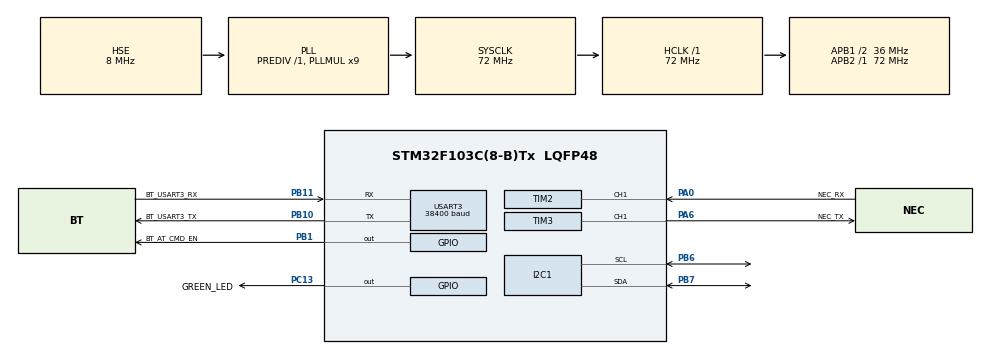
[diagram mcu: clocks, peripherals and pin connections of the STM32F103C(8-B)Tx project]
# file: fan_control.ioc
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Mcu.Family=STM32F1
Mcu.Name=STM32F103C(8-B)Tx
Mcu.Package=LQFP48
NVIC.I2C1_ER_IRQn=true\:0\:0\:false\:false\:true\:true\:true
NVIC.I2C1_EV_IRQn=true\:0\:0\:false\:false\:true\:true\:true
NVIC.PriorityGroup=NVIC_PRIORITYGROUP_4
NVIC.TIM2_IRQn=true\:0\:0\:false\:false\:true\:true\:true
NVIC.TIM3_IRQn=true\:0\:0\:true\:false\:true\:true\:true
NVIC.USART3_IRQn=true\:0\:0\:true\:false\:true\:true\:true
PA0-WKUP.GPIO_Label=NEC_RX
PA0-WKUP.Signal=S_TIM2_CH1_ETR
PA13.Mode=Serial_Wire
PA13.Signal=SYS_JTMS-SWDIO
PA14.Mode=Serial_Wire
PA14.Signal=SYS_JTCK-SWCLK
PA6.GPIO_Label=NEC_TX
PA6.GPIO_PuPd=GPIO_PULLUP
PA6.Signal=S_TIM3_CH1
PB1.GPIO_Label=BT_AT_CMD_EN
PB1.GPIO_Speed=GPIO_SPEED_FREQ_MEDIUM
PB1.Signal=GPIO_Output
PB10.GPIO_Label=BT_USART3_TX
PB10.Mode=Asynchronous
PB10.Signal=USART3_TX
PB11.GPIO_Label=BT_USART3_RX
PB11.Mode=Asynchronous
PB11.Signal=USART3_RX
PB6.Mode=I2C
PB6.Signal=I2C1_SCL
PB7.Mode=I2C
PB7.Signal=I2C1_SDA
PC13-TAMPER-RTC.GPIO_Label=GREEN_LED
PC13-TAMPER-RTC.Signal=GPIO_Output
PD0-OSC_IN.Mode=HSE-External-Oscillator
PD0-OSC_IN.Signal=RCC_OSC_IN
PD1-OSC_OUT.Mode=HSE-External-Oscillator
PD1-OSC_OUT.Signal=RCC_OSC_OUT
ProjectManager.HeapSize=0x400
ProjectManager.StackSize=0x800
ProjectManager.TargetToolchain=MDK-ARM V5.32
RCC.AHBFreq_Value=72000000
RCC.APB1CLKDivider=RCC_HCLK_DIV2
RCC.APB1Freq_Value=36000000
RCC.APB1TimFreq_Value=72000000
RCC.APB2Freq_Value=72000000
RCC.APB2TimFreq_Value=72000000
RCC.HCLKFreq_Value=72000000
RCC.PLLMUL=RCC_PLL_MUL9
RCC.PLLSourceVirtual=RCC_PLLSOURCE_HSE
RCC.RTCClockSelection=RCC_RTCCLKSOURCE_LSE
RCC.SYSCLKFreq_VALUE=72000000
RCC.SYSCLKSource=RCC_SYSCLKSOURCE_PLLCLK
RCC.USBFreq_Value=48000000
RCC.USBPrescaler=RCC_USBCLKSOURCE_PLL_DIV1_5
SH.S_TIM2_CH1_ETR.0=TIM2_CH1,Input_Capture1_from_TI1
SH.S_TIM3_CH1.0=TIM3_CH1,PWM Generation1 CH1
TIM2.AutoReloadPreload=TIM_AUTORELOAD_PRELOAD_ENABLE
TIM2.Channel-Input_Capture1_from_TI1=TIM_CHANNEL_1
TIM2.Channel-Input_Capture2_from_TI1_63=TIM_CHANNEL_2
TIM2.ICPolarity_CH2=TIM_INPUTCHANNELPOLARITY_FALLING
TIM2.Period=0xFFFF
TIM2.Prescaler=71
TIM3.AutoReloadPreload=TIM_AUTORELOAD_PRELOAD_ENABLE
TIM3.Channel-PWM\ Generation1\ CH1=TIM_CHANNEL_1
TIM3.CounterMode=TIM_COUNTERMODE_UP
TIM3.Period=0x0766
TIM3.Prescaler=0
USART3.BaudRate=38400
USART3.VirtualMode=VM_ASYNC
VP_TIM2_VS_ClockSourceINT.Mode=Internal
VP_TIM2_VS_indirect_ch1.Mode=Input_Capture2_from_TI1_63
VP_TIM3_VS_ClockSourceINT.Mode=Internal
board=custom

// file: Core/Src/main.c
/* USER CODE BEGIN Header */
/**
  ******************************************************************************
  * @file           : main.c
  * @brief          : Main program body
  ******************************************************************************
  * @attention
  *
  * Copyright (c) 2023 STMicroelectronics.
  * All rights reserved.
  *
  * This software is licensed under terms that can be found in the LICENSE file
  * in the root directory of this software component.
  * If no LICENSE file comes with this software, it is provided AS-IS.
  *
  ******************************************************************************
  */
/* USER CODE END Header */
#include "main.h"
#include "i2c.h"
#include "tim.h"
#include "usart.h"
#include "gpio.h"

/* USER CODE BEGIN Includes */
#include "bt_usart.h"
#include "bluetooth.h"
#include "bt_user_control.h"
#include "ir_NEC_remote_control.h"
#include "nec_decode.h"
#include "aht21.h"
#include "scd30.h"
/* USER CODE END Includes */

void SystemClock_Config(void);

int main(void)
{

  /* MCU Configuration--------------------------------------------------------*/

  /* Reset of all peripherals, Initializes the Flash interface and the Systick. */
  HAL_Init();

  /* USER CODE BEGIN Init */
	HAL_Delay(2000);
  /* USER CODE END Init */

  /* Configure the system clock */
  SystemClock_Config();

  /* Initialize all configured peripherals */
  MX_GPIO_Init();
  MX_TIM3_Init();
  MX_USART3_UART_Init();
  MX_TIM2_Init();
  MX_I2C1_Init();
  /* USER CODE BEGIN 2 */
  Ringbuf_init();
  //IrDA_Ringbuf_init();
  HC_05_init();
  CommandBuf_init();
  IrRemoteControInit();
  NEC_Init();

  //AHT First start
  AHT_Executer();
  HAL_Delay(100);
  AHT_Executer();
  HAL_Delay(100);

	//hi2c1.Instance->DR;
  HAL_GPIO_WritePin(GREEN_LED_GPIO_Port, GREEN_LED_Pin, GPIO_PIN_SET);
  /* USER CODE END 2 */

  /* Infinite loop */
  /* USER CODE BEGIN WHILE */
  while (1)
  {
    BT_UI_Executer();
    NEC_RX_Executer();

    //SCD30_GetData();
    //IrSendMessage(6, arr, 1);
    //HAL_Delay(1000);
    /* USER CODE END WHILE */

  }
}

void SystemClock_Config(void)
{
  RCC_OscInitTypeDef RCC_OscInitStruct = {0};
  RCC_ClkInitTypeDef RCC_ClkInitStruct = {0};

  /** Initializes the RCC Oscillators according to the specified parameters
  * in the RCC_OscInitTypeDef structure.
  */
  RCC_OscInitStruct.OscillatorType = RCC_OSCILLATORTYPE_HSE;
  RCC_OscInitStruct.HSEState = RCC_HSE_ON;
  RCC_OscInitStruct.HSEPredivValue = RCC_HSE_PREDIV_DIV1;
  RCC_OscInitStruct.HSIState = RCC_HSI_ON;
  RCC_OscInitStruct.PLL.PLLState = RCC_PLL_ON;
  RCC_OscInitStruct.PLL.PLLSource = RCC_PLLSOURCE_HSE;
  RCC_OscInitStruct.PLL.PLLMUL = RCC_PLL_MUL9;
  if (HAL_RCC_OscConfig(&RCC_OscInitStruct) != HAL_OK)
  {
    Error_Handler();
  }
  /** Initializes the CPU, AHB and APB buses clocks
  */
  RCC_ClkInitStruct.ClockType = RCC_CLOCKTYPE_HCLK|RCC_CLOCKTYPE_SYSCLK
                              |RCC_CLOCKTYPE_PCLK1|RCC_CLOCKTYPE_PCLK2;
  RCC_ClkInitStruct.SYSCLKSource = RCC_SYSCLKSOURCE_PLLCLK;
  RCC_ClkInitStruct.AHBCLKDivider = RCC_SYSCLK_DIV1;
  RCC_ClkInitStruct.APB1CLKDivider = RCC_HCLK_DIV2;
  RCC_ClkInitStruct.APB2CLKDivider = RCC_HCLK_DIV1;

  if (HAL_RCC_ClockConfig(&RCC_ClkInitStruct, FLASH_LATENCY_2) != HAL_OK)
  {
    Error_Handler();
  }
}

/* USER CODE BEGIN 4 */
void HAL_TIM_PeriodElapsedCallback(TIM_HandleTypeDef *htim)
{
  if ( htim->Instance == TIM1 )
  {
  }
  else if ( htim->Instance == TIM2 )
  {
    necDecodeCallback();
  }
  else if ( htim->Instance == TIM3 )
  {
    IrRemoteControlCallback();
  }
  else if ( htim->Instance == TIM4 )
  {
  }
}
/* USER CODE END 4 */

void Error_Handler(void)
{
  /* USER CODE BEGIN Error_Handler_Debug */
  /* User can add his own implementation to report the HAL error return state */
  __disable_irq();
  while (1)
  {
		HAL_NVIC_SystemReset();
  }
  /* USER CODE END Error_Handler_Debug */
}
